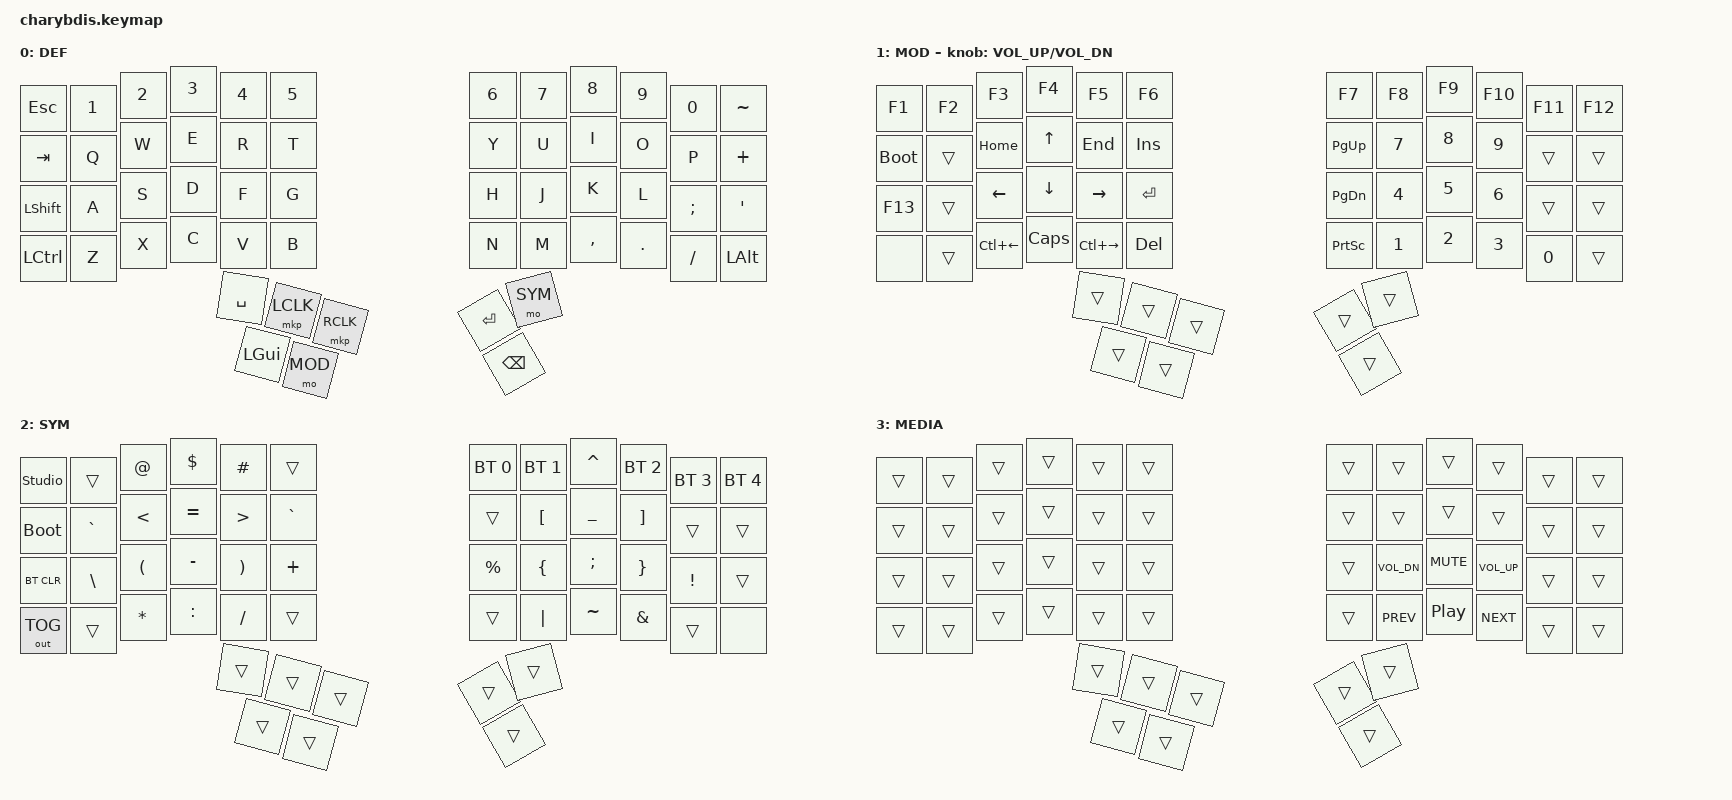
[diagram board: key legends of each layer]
#include <dt-bindings/zmk/mouse.h>
#include <behaviors/mouse_keys.dtsi>
#include <behaviors.dtsi>
#include <dt-bindings/zmk/bt.h>
#include <dt-bindings/zmk/keys.h>
#include <dt-bindings/zmk/outputs.h>
#include <dt-bindings/zmk/pointing.h>
#include "macros.dtsi"

// / {
//     chosen { zmk,matrix_transform = &default_transform; };
// };

/ {
    /* input config for mouse move mode */

    trackball_listener {
        compatible = "zmk,input-behavior-listener";
        device = <&vtrackball>;
        layers = <0 3>;
        evt-type = <INPUT_EV_REL>;
        x-input-code = <INPUT_REL_X>;
        y-input-code = <INPUT_REL_Y>;
        scale-multiplier = <1>;
        scale-divisor = <2>;

        // bindings = <&ib_toggle_layer 7>;
    };

    /* input config for snipe mode */

    trackball_snipe_listener {
        compatible = "zmk,input-behavior-listener";
        device = <&vtrackball>;
        layers = <2>;
        evt-type = <INPUT_EV_REL>;
        x-input-code = <INPUT_REL_X>;
        y-input-code = <INPUT_REL_Y>;
        scale-multiplier = <1>;
        scale-divisor = <4>;
    };

    /* input config for mouse scroll mode */

    trackball_scroll_listener {
        compatible = "zmk,input-behavior-listener";
        device = <&vtrackball>;
        layers = <1>;
        evt-type = <INPUT_EV_REL>;
        x-input-code = <INPUT_REL_MISC>;
        y-input-code = <INPUT_REL_WHEEL>;
        y-invert;
        scale-multiplier = <1>;
        scale-divisor = <4>;
        bindings = <&ib_wheel_scaler 1 14>;
    };

    /* define a resolution down scaler only for INPUT_REL_WHEEL */

    ib_wheel_scaler: ib_wheel_scaler {
        compatible = "zmk,input-behavior-scaler";
        #binding-cells = <2>;
        evt-type = <INPUT_EV_REL>;
        input-code = <INPUT_REL_WHEEL>;
    };

    /* adjust cooldown waiting period for mouse key layer after activated */

    ib_toggle_layer: ib_toggle_layer {
        compatible = "zmk,input-behavior-tog-layer";
        #binding-cells = <1>;
        time-to-live-ms = <750>;
    };

    #define DEF 0
#define MOD 1
#define SYM 2
#define MEDIA 3

    conditional_layers {
        compatible = "zmk,conditional-layers";
        media_layer {
            // Hold both thumb layer keys (MO SYM + MO MOD) to reach MEDIA.
            if-layers = <MOD SYM>;
            then-layer = <MEDIA>;
        };
    };

    keymap {
        compatible = "zmk,keymap";

        DEF {
            bindings = <
&kp ESC     &kp NUMBER_1  &kp N2  &kp N3     &kp N4     &kp N5                                           &kp N6     &kp N7                     &kp N8     &kp N9   &kp N0     &kp TILDE
&kp TAB     &kp Q         &kp W   &kp E      &kp R      &kp T                                            &kp Y      &kp U                      &kp I      &kp O    &kp P      &kp PLUS
&kp LSHIFT  &kp A         &kp S   &kp D      &kp F      &kp G                                            &kp H      &kp J                      &kp K      &kp L    &kp SEMI   &kp APOS
&kp LCTRL   &kp Z         &kp X   &kp C      &kp V      &kp B                                            &kp N      &kp M                      &kp COMMA  &kp DOT  &kp SLASH  &kp LALT
                                  &mkp RCLK  &mo MOD  &kp SPACE    &kp ENTER  &mo SYM
                                             &kp LGUI  &mkp LCLK    &kp BSPC
            >;
        };

        MOD {
            bindings = <
&kp F1       &kp F2   &kp F3        &kp F4    &kp F5         &kp F6       &kp F7     &kp F8    &kp F9    &kp F10   &kp F11  &kp F12
&bootloader  &trans   &kp HOME      &kp UP    &kp END        &kp INSERT   &kp PG_UP  &kp N7    &kp N8    &kp N9    &trans   &trans
&kp F13      &trans   &kp LEFT      &kp DOWN  &kp RIGHT      &kp ENTER    &kp PG_DN  &kp N4    &kp N5    &kp N6    &trans   &trans
&none        &trans   &kp LC(LEFT)  &kp CAPS  &kp LC(RIGHT)  &kp DEL      &kp PSCRN  &kp N1    &kp N2    &kp N3    &kp N0   &trans
                                    &trans    &trans         &trans       &trans     &trans
                                              &trans         &trans       &trans
            >;

            sensor-bindings = <&inc_dec_kp C_VOL_UP C_VOL_DN>;
        };

        SYM {
            bindings = <
&studio_unlock  &trans     &kp AT    &kp DOLLAR  &kp HASH    &trans      &bt BT_SEL 0  &bt BT_SEL 1  &kp CARET  &bt BT_SEL 2  &bt BT_SEL 3  &bt BT_SEL 4
&bootloader     &kp GRAVE  &kp LT    &kp EQUAL   &kp GT      &kp GRAVE   &trans        &kp LBKT      &kp UNDER  &kp RBKT      &trans        &trans
&bt BT_CLR      &kp BSLH   &kp LPAR  &kp MINUS   &kp RPAR    &kp PLUS    &kp PRCNT     &kp LBRC      &kp SEMI   &kp RBRC      &kp EXCL      &trans
&out OUT_TOG    &trans     &kp STAR  &kp COLON   &kp SLASH   &trans      &trans        &kp PIPE      &kp TILDE  &kp AMPS      &trans        &none
                                     &trans      &trans      &trans      &trans        &trans
                                                 &trans      &trans      &trans
            >;
        };

        MEDIA {
            bindings = <
&trans  &trans  &trans  &trans  &trans  &trans      &trans  &trans        &trans      &trans        &trans  &trans
&trans  &trans  &trans  &trans  &trans  &trans      &trans  &trans        &trans      &trans        &trans  &trans
&trans  &trans  &trans  &trans  &trans  &trans      &trans  &kp C_VOL_DN  &kp C_MUTE  &kp C_VOL_UP  &trans  &trans
&trans  &trans  &trans  &trans  &trans  &trans      &trans  &kp C_PREV    &kp C_PP    &kp C_NEXT    &trans  &trans
                        &trans  &trans  &trans      &trans  &trans
                                &trans  &trans       &trans
            >;
        };
    };
};
